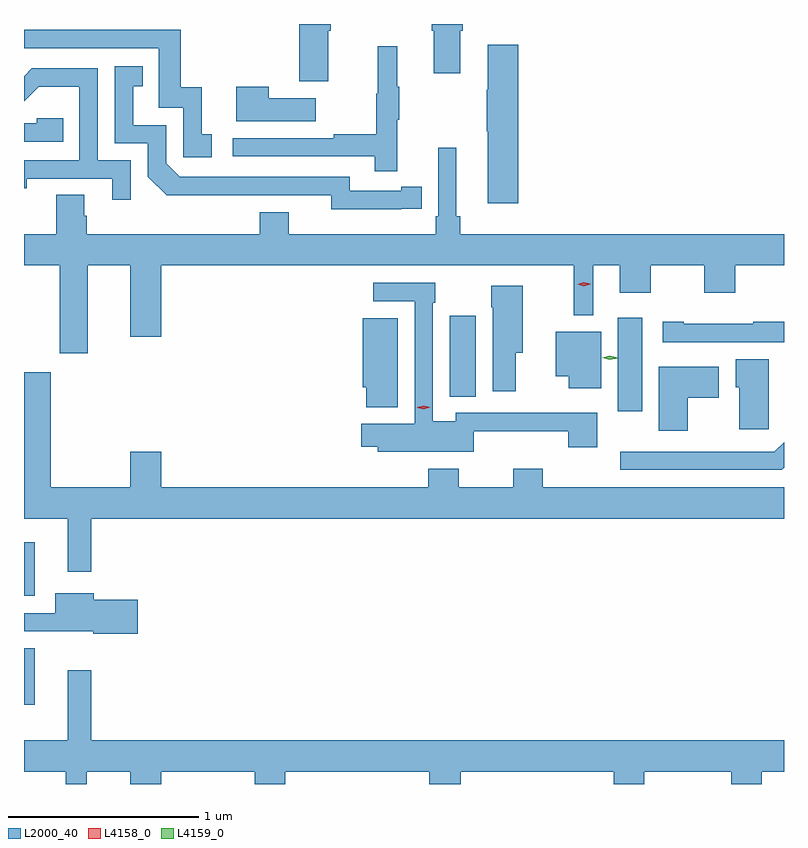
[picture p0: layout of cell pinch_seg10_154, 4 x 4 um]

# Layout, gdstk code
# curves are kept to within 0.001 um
import gdstk
lib = gdstk.Library(unit=1e-6, precision=1e-09)
def R(c, l, rs):  # rectangles x0, y0, x1, y1
    for r in rs: c.add(gdstk.rectangle(r[:2], r[2:], *l))
def P(c, l, *ps):  # polygons
    for p in ps: c.add(gdstk.Polygon(p, *l))
L2000_40 = (2000, 40)
L4158_0 = (4158, 0)
L4159_0 = (4159, 0)

pinch_seg10_154 = lib.new_cell('pinch_seg10_154')
R(pinch_seg10_154, L2000_40, [(655.958,1282.02,656.014,1282.318), (655.958,1282.593,656.014,1282.876), (659.084,1283.565,659.212,1284.058), (658.199,1283.641,658.336,1284.067)])
P(pinch_seg10_154, L2000_40, [(657.559,1285.568),(657.572,1285.568),(657.572,1285.603),(657.407,1285.603),(657.407,1285.302),(657.559,1285.302)],
  [(658.255,1285.568),(658.268,1285.568),(658.268,1285.603),(658.103,1285.603),(658.103,1285.568),(658.115,1285.568),(658.115,1285.344),(658.255,1285.344)],
  [(656.947,1285.023),(656.894,1285.023),(656.894,1285.27),(656.783,1285.27),(656.783,1285.572),(655.958,1285.572),(655.958,1285.476),(656.667,1285.476),(656.667,1285.161),(656.796,1285.161),(656.796,1284.903),(656.947,1284.903)],
  [(658.559,1285.495),(658.4,1285.495),(658.4,1285.256),(658.393,1285.256),(658.393,1285.039),(658.4,1285.039),(658.4,1284.66),(658.559,1284.66)],
  [(657.923,1285.099),(657.934,1285.099),(657.934,1285.273),(657.923,1285.273),(657.923,1285.486),(657.82,1285.486),(657.82,1285.236),(657.813,1285.236),(657.813,1285.022),(657.589,1285.022),(657.589,1285.002),(657.057,1285.002),(657.057,1284.906),(657.805,1284.906),(657.805,1284.828),(657.923,1284.828)],
  [(657.944,1284.63),(658.052,1284.63),(658.052,1284.746),(657.944,1284.746),(657.944,1284.726),(657.672,1284.726),(657.672,1284.798),(656.778,1284.798),(656.706,1284.87),(656.706,1285.071),(656.533,1285.071),(656.533,1285.275),(656.582,1285.275),(656.582,1285.381),(656.436,1285.381),(656.436,1284.975),(656.61,1284.975),(656.61,1284.798),(656.708,1284.701),(657.576,1284.702),(657.576,1284.629)],
  [(656.52,1284.885),(656.346,1284.885),(656.346,1285.371),(656,1285.371),(655.958,1285.329),(655.958,1285.196),(656.036,1285.274),(656.25,1285.274),(656.25,1284.885),(655.958,1284.885),(655.958,1284.738),(655.972,1284.738),(655.972,1284.789),(656.423,1284.789),(656.423,1284.678),(656.52,1284.678)],
  [(657.493,1285.213),(657.245,1285.213),(657.245,1285.273),(657.074,1285.273),(657.074,1285.091),(657.493,1285.091)],
  [(656.165,1285.107),(656.025,1285.107),(656.025,1285.08),(655.958,1285.08),(655.958,1284.984),(656.165,1284.984)],
  [(658.852,1284.069),(658.954,1284.069),(658.954,1284.332),(659.093,1284.332),(659.093,1284.189),(659.257,1284.189),(659.257,1284.332),(659.537,1284.332),(659.537,1284.189),(659.701,1284.189),(659.701,1284.332),(659.958,1284.332),(659.958,1284.496),(658.253,1284.496),(658.253,1284.592),(658.234,1284.592),(658.234,1284.952),(658.137,1284.952),(658.137,1284.592),(658.124,1284.592),(658.124,1284.496),(657.352,1284.496),(657.352,1284.613),(657.2,1284.613),(657.2,1284.496),(656.288,1284.496),(656.288,1284.594),(656.275,1284.594),(656.275,1284.704),(656.128,1284.704),(656.128,1284.496),(655.958,1284.496),(655.958,1284.332),(656.146,1284.332),(656.146,1283.871),(656.293,1283.871),(656.293,1284.332),(656.516,1284.332),(656.516,1283.958),(656.68,1283.958),(656.68,1284.332),(658.852,1284.332)],
  [(658.326,1283.459),(658.823,1283.459),(658.823,1283.376),(658.975,1283.376),(658.975,1283.557),(658.739,1283.557),(658.739,1283.556),(658.23,1283.556),(658.23,1283.512),(658.11,1283.512),(658.11,1284.137),(658.123,1284.137),(658.123,1284.24),(657.795,1284.24),(657.795,1284.144),(658.014,1284.144),(658.014,1283.5),(657.732,1283.5),(657.732,1283.378),(657.819,1283.378),(657.819,1283.351),(658.326,1283.351)],
  [(658.546,1283.873),(658.582,1283.873),(658.582,1284.226),(658.417,1284.226),(658.417,1284.113),(658.424,1284.113),(658.424,1283.67),(658.546,1283.67)],
  [(657.925,1284.055),(657.74,1284.055),(657.74,1283.691),(657.758,1283.691),(657.758,1283.585),(657.925,1283.585)],
  [(659.958,1284.037),(659.797,1284.037),(659.797,1284.025),(659.431,1284.025),(659.431,1284.037),(659.319,1284.037),(659.319,1283.928),(659.958,1283.928)],
  [(658.996,1283.983),(658.757,1283.983),(658.757,1283.75),(658.826,1283.75),(658.826,1283.687),(658.996,1283.687)],
  [(659.878,1283.839),(659.705,1283.839),(659.705,1283.691),(659.723,1283.691),(659.723,1283.469),(659.878,1283.469)],
  [(659.452,1283.636),(659.614,1283.636),(659.614,1283.8),(659.3,1283.8),(659.3,1283.463),(659.452,1283.463)],
  [(656.311,1283),(659.958,1283),(659.958,1283.164),(658.689,1283.164),(658.689,1283.263),(658.534,1283.263),(658.534,1283.164),(658.245,1283.164),(658.245,1283.263),(658.085,1283.263),(658.085,1283.164),(656.68,1283.164),(656.68,1283.353),(656.516,1283.353),(656.516,1283.164),(656.098,1283.164),(656.098,1283.77),(655.958,1283.77),(655.958,1283),(656.189,1283),(656.189,1282.719),(656.311,1282.719)],
  [(659.958,1283.268),(659.958,1283.403),(659.907,1283.352),(659.097,1283.352),(659.097,1283.256),(659.946,1283.256)],
  [(656.557,1282.572),(656.326,1282.572),(656.326,1282.606),(656.123,1282.606),(656.123,1282.503),(655.958,1282.503),(655.958,1282.407),(656.127,1282.407),(656.127,1282.406),(656.322,1282.406),(656.322,1282.394),(656.557,1282.394)],
  [(656.311,1282.201),(656.189,1282.201),(656.189,1281.832),(655.958,1281.832),(655.958,1281.668),(656.177,1281.668),(656.177,1281.603),(656.287,1281.603),(656.287,1281.668),(656.516,1281.668),(656.516,1281.603),(656.68,1281.603),(656.68,1281.668),(657.172,1281.668),(657.172,1281.603),(657.332,1281.603),(657.332,1281.668),(658.091,1281.668),(658.091,1281.603),(658.256,1281.603),(658.256,1281.668),(659.063,1281.668),(659.063,1281.603),(659.223,1281.603),(659.223,1281.668),(659.68,1281.668),(659.68,1281.603),(659.84,1281.603),(659.84,1281.668),(659.958,1281.668),(659.958,1281.832),(656.311,1281.832)])
P(pinch_seg10_154, L4158_0, [(658.904,1284.224),(658.872,1284.234),(658.871,1284.234),(658.872,1284.234),(658.904,1284.244),(658.937,1284.235),(658.937,1284.234),(658.937,1284.234)],
  [(658.062,1283.575),(658.027,1283.584),(658.027,1283.584),(658.027,1283.585),(658.062,1283.595),(658.097,1283.586),(658.097,1283.586),(658.097,1283.586)])
P(pinch_seg10_154, L4159_0, [(659.042,1283.836),(659.001,1283.846),(659.001,1283.846),(659.001,1283.846),(659.042,1283.856),(659.082,1283.846),(659.083,1283.846),(659.082,1283.845)])

lib.write_gds('pinch_seg10_154.gds')
